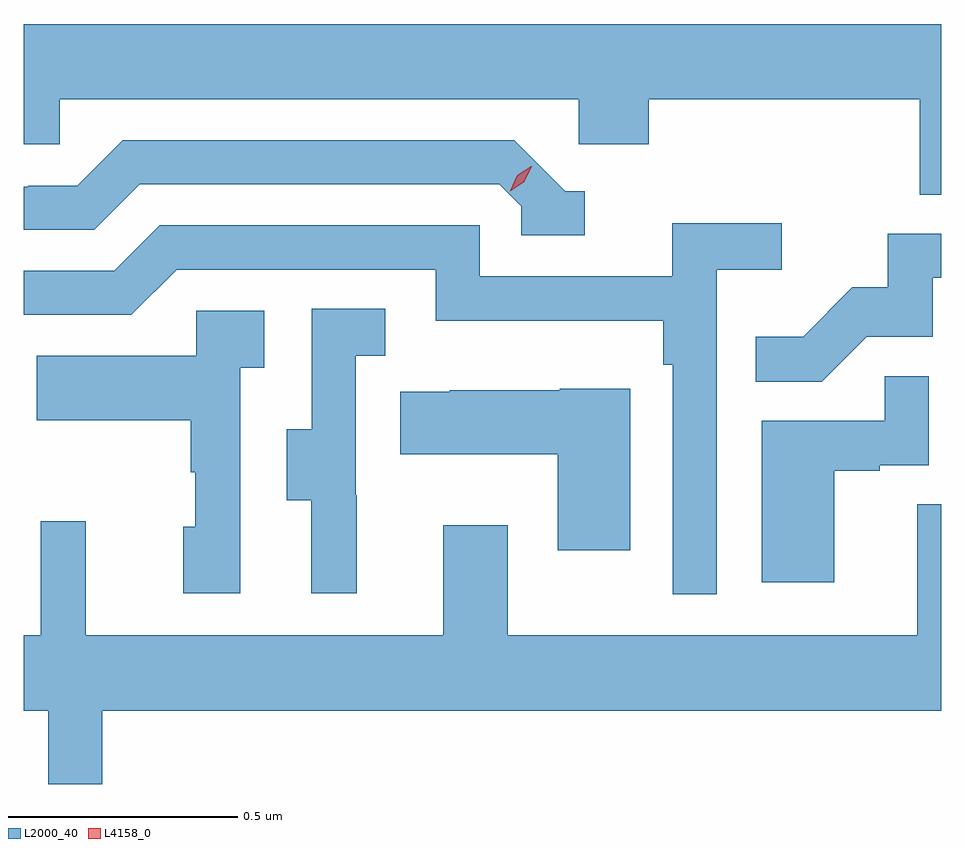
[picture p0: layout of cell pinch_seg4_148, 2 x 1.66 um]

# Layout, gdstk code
import gdstk
lib = gdstk.Library(unit=1e-6, precision=1e-09)
def P(c, l, *ps):  # polygons
    for p in ps: c.add(gdstk.Polygon(p, *l))
L2000_40 = (2000, 40)
L4158_0 = (4158, 0)

pinch_seg4_148 = lib.new_cell('pinch_seg4_148')
P(pinch_seg4_148, L2000_40, [(1104.574,807.64),(1102.574,807.64),(1102.574,807.378),(1102.653,807.378),(1102.653,807.476),(1103.784,807.476),(1103.784,807.378),(1103.936,807.378),(1103.936,807.476),(1104.527,807.476),(1104.527,807.268),(1104.574,807.268)],
  [(1103.797,807.276),(1103.754,807.276),(1103.643,807.387),(1102.79,807.387),(1102.691,807.288),(1102.584,807.288),(1102.584,807.285),(1102.574,807.285),(1102.574,807.192),(1102.728,807.192),(1102.827,807.291),(1103.61,807.291),(1103.658,807.243),(1103.658,807.18),(1103.797,807.18)],
  [(1104.084,807.104),(1104.226,807.104),(1104.226,807.206),(1103.987,807.206),(1103.987,807.09),(1103.568,807.09),(1103.568,807.201),(1102.871,807.201),(1102.772,807.102),(1102.574,807.102),(1102.574,807.006),(1102.809,807.006),(1102.908,807.105),(1103.472,807.105),(1103.472,806.993),(1103.968,806.993),(1103.968,806.897),(1103.988,806.897),(1103.988,806.397),(1104.084,806.397)],
  [(1104.411,806.958),(1104.555,806.958),(1104.555,807.087),(1104.574,807.087),(1104.574,807.183),(1104.457,807.183),(1104.457,807.066),(1104.38,807.066),(1104.273,806.959),(1104.169,806.959),(1104.169,806.86),(1104.313,806.86)],
  [(1103.3,806.613),(1103.298,806.613),(1103.298,806.917),(1103.362,806.917),(1103.362,807.02),(1103.202,807.02),(1103.202,806.757),(1103.147,806.757),(1103.147,806.602),(1103.201,806.602),(1103.201,806.4),(1103.3,806.4)],
  [(1103.046,806.891),(1103.098,806.891),(1103.098,807.015),(1102.95,807.015),(1102.95,806.917),(1102.603,806.917),(1102.603,806.777),(1102.938,806.777),(1102.938,806.663),(1102.948,806.663),(1102.948,806.544),(1102.922,806.544),(1102.922,806.4),(1103.046,806.4)],
  [(1104.34,806.667),(1104.44,806.667),(1104.44,806.679),(1104.546,806.679),(1104.546,806.873),(1104.451,806.873),(1104.451,806.775),(1104.182,806.775),(1104.182,806.424),(1104.34,806.424)],
  [(1103.896,806.845),(1103.742,806.845),(1103.742,806.842),(1103.503,806.842),(1103.503,806.839),(1103.395,806.839),(1103.395,806.702),(1103.738,806.702),(1103.738,806.493),(1103.896,806.493)],
  [(1102.745,806.144),(1104.574,806.144),(1104.574,806.594),(1104.521,806.594),(1104.521,806.308),(1103.629,806.308),(1103.629,806.548),(1103.489,806.548),(1103.489,806.308),(1102.709,806.308),(1102.709,806.557),(1102.611,806.557),(1102.611,806.308),(1102.574,806.308),(1102.574,806.144),(1102.628,806.144),(1102.628,805.984),(1102.745,805.984)])
P(pinch_seg4_148, L4158_0, [(1103.634,807.276),(1103.634,807.277),(1103.65,807.31),(1103.68,807.33),(1103.681,807.33),(1103.681,807.329),(1103.665,807.296),(1103.635,807.276)])

lib.write_gds('pinch_seg4_148.gds')
